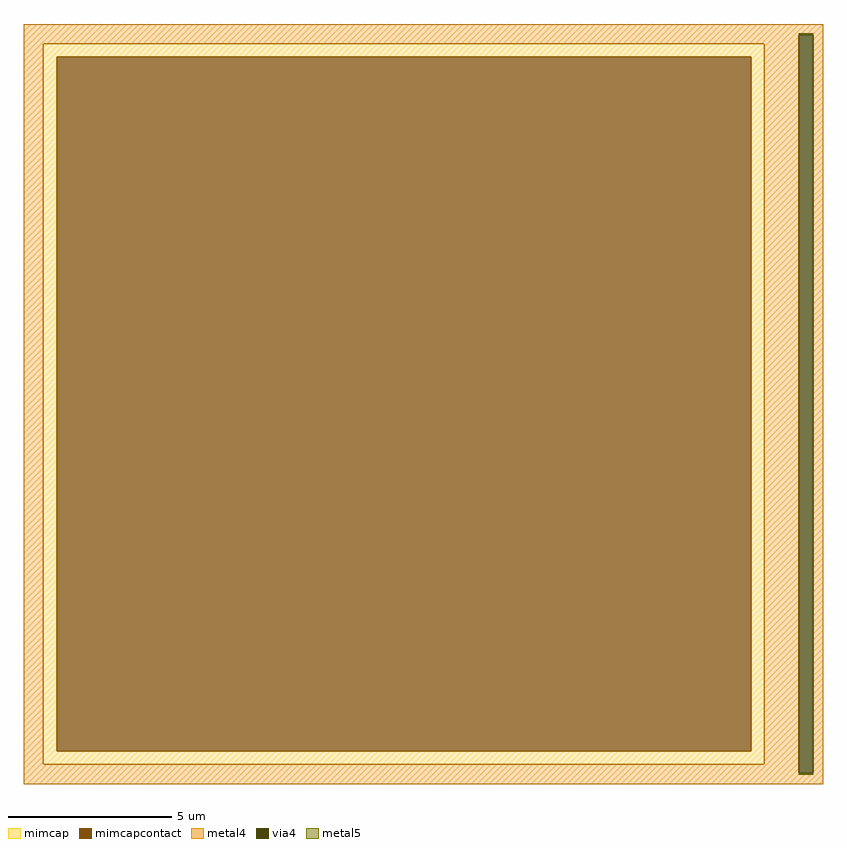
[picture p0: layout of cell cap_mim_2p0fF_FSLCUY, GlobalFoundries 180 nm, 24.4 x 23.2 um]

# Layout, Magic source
magic
tech gf180mcuD
magscale 1 10
<< mimcap >>
rect -2320 2120 2080 2200
rect -2320 -2120 -2240 2120
rect 2000 -2120 2080 2120
rect -2320 -2200 2080 -2120
<< mimcapcontact >>
rect -2240 -2120 2000 2120
<< metal4 >>
rect -2440 2253 2440 2320
rect -2440 2200 2290 2253
rect -2440 -2200 -2320 2200
rect 2080 -2200 2290 2200
rect -2440 -2253 2290 -2200
rect 2378 -2253 2440 2253
rect -2440 -2320 2440 -2253
<< via4 >>
rect 2290 -2253 2378 2253
<< metal5 >>
rect 2290 2253 2378 2263
rect 2290 -2263 2378 -2253
<< properties >>
string FIXED_BBOX -2440 -2320 2200 2320
string gencell cap_mim_2p0fF
string library gf180mcu
string parameters w 22.00 l 22.00 val 984.13 carea 1.99 cperi 0.2383 class capacitor nx 1 ny 1 dummy 0 square 0 lmin 5.00 wmin 5.00 lmax 100.0 wmax 100.0 dc 0 bconnect 1 tconnect 1
<< end >>
